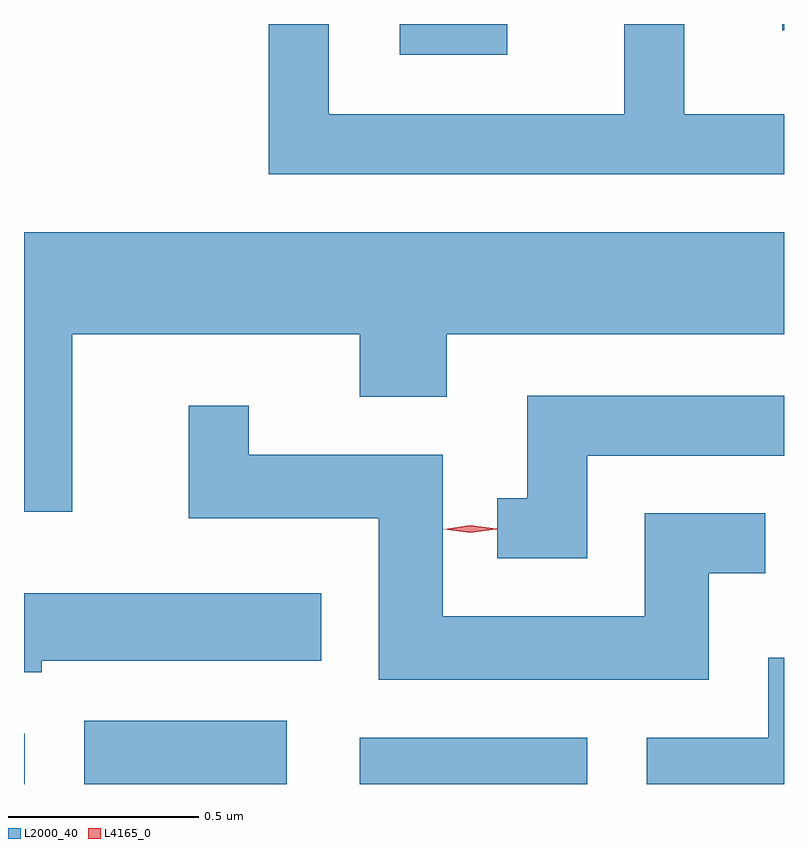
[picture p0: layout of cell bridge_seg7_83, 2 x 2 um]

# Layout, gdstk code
import gdstk
lib = gdstk.Library(unit=1e-6, precision=1e-09)
def R(c, l, rs):  # rectangles x0, y0, x1, y1
    for r in rs: c.add(gdstk.rectangle(r[:2], r[2:], *l))
def P(c, l, *ps):  # polygons
    for p in ps: c.add(gdstk.Polygon(p, *l))
L2000_40 = (2000, 40)
L4165_0 = (4165, 0)

bridge_seg7_83 = lib.new_cell('bridge_seg7_83')
R(bridge_seg7_83, L2000_40, [(1657.367,1779.732,1657.369,1779.864), (1657.526,1779.732,1658.059,1779.899), (1658.251,1779.732,1658.849,1779.854), (1658.356,1781.651,1658.639,1781.732), (1659.363,1781.716,1659.367,1781.732)])
P(bridge_seg7_83, L2000_40, [(1659.367,1781.494),(1659.104,1781.494),(1659.104,1781.732),(1658.946,1781.732),(1658.946,1781.494),(1658.169,1781.494),(1658.169,1781.732),(1658.011,1781.732),(1658.011,1781.336),(1659.367,1781.336)],
  [(1657.494,1780.916),(1658.251,1780.916),(1658.251,1780.751),(1658.479,1780.751),(1658.479,1780.916),(1659.367,1780.916),(1659.367,1781.184),(1657.367,1781.184),(1657.367,1780.448),(1657.494,1780.448)],
  [(1658.849,1780.596),(1659.367,1780.596),(1659.367,1780.754),(1658.691,1780.754),(1658.691,1780.484),(1658.613,1780.484),(1658.613,1780.326),(1658.849,1780.326)],
  [(1659.169,1780.286),(1659.318,1780.286),(1659.318,1780.444),(1659.001,1780.444),(1659.001,1780.174),(1658.469,1780.174),(1658.469,1780.599),(1657.959,1780.599),(1657.959,1780.728),(1657.801,1780.728),(1657.801,1780.431),(1658.301,1780.431),(1658.301,1780.006),(1659.169,1780.006)],
  [(1657.414,1780.056),(1658.149,1780.056),(1658.149,1780.234),(1657.367,1780.234),(1657.367,1780.026),(1657.414,1780.026)],
  [(1659.367,1780.064),(1659.326,1780.064),(1659.326,1779.854),(1659.006,1779.854),(1659.006,1779.732),(1659.367,1779.732)])
P(bridge_seg7_83, L4165_0, [(1658.541,1780.393),(1658.472,1780.402),(1658.472,1780.403),(1658.472,1780.403),(1658.541,1780.413),(1658.611,1780.404),(1658.611,1780.404),(1658.611,1780.403)])

lib.write_gds('bridge_seg7_83.gds')
